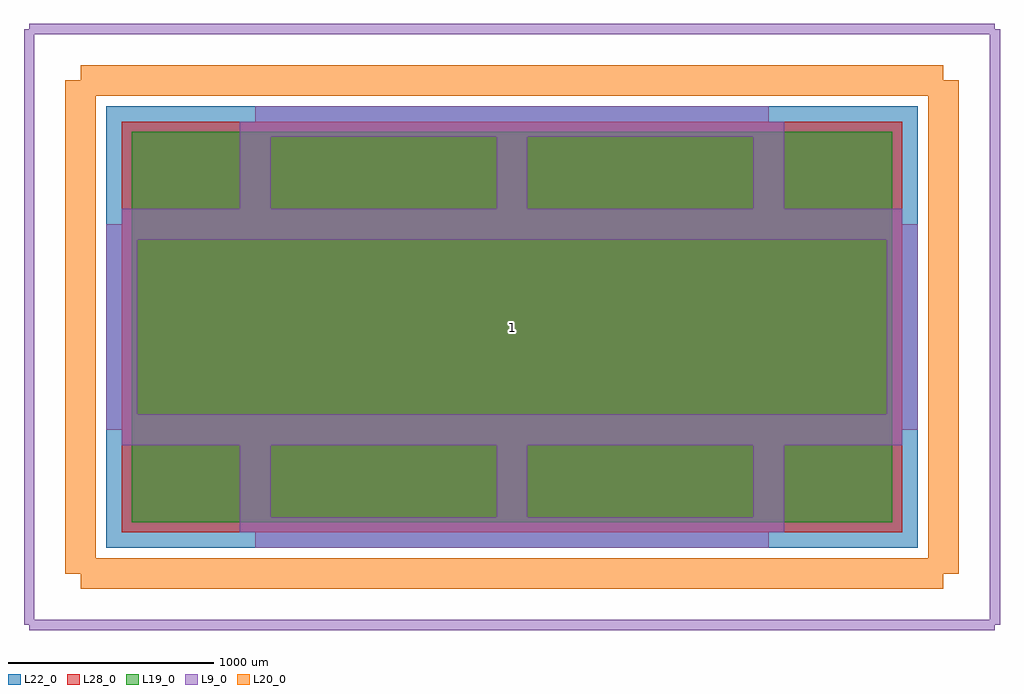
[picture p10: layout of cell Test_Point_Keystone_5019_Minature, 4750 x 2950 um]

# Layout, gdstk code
import gdstk
lib = gdstk.Library(unit=1e-6, precision=1e-09)
def R(c, l, rs):  # rectangles x0, y0, x1, y1
    for r in rs: c.add(gdstk.rectangle(r[:2], r[2:], *l))
L9_0 = (9, 0)
L19_0 = (19, 0)
L20_0 = (20, 0)
L22_0 = (22, 0)
L28_0 = (28, 0)

test_point_keystone_5019 = lib.new_cell('Test_Point_Keystone_5019_Minature')
R(test_point_keystone_5019, L19_0, [(-1850,-950,1850,950)])
R(test_point_keystone_5019, L22_0, [(-1975,-1075,1975,1075)])
R(test_point_keystone_5019, L28_0, [(-1900,-1000,1900,1000)])
test_point_keystone_5019.add(gdstk.FlexPath([(-2100,-1200),(-2100,1200)], 149.998, ends="flush", simple_path=True, layer=20, datatype=0))  # L20_0
test_point_keystone_5019.add(gdstk.FlexPath([(2100,-1200),(-2100,-1200)], 149.998, ends="flush", simple_path=True, layer=20, datatype=0))  # L20_0
test_point_keystone_5019.add(gdstk.FlexPath([(2100,1200),(2100,-1200)], 149.998, ends="flush", simple_path=True, layer=20, datatype=0))  # L20_0
test_point_keystone_5019.add(gdstk.FlexPath([(-2100,1200),(2100,1200)], 149.998, ends="flush", simple_path=True, layer=20, datatype=0))  # L20_0
test_point_keystone_5019.add(gdstk.FlexPath([(-2350,-1450),(-2350,1450)], 50, ends="flush", simple_path=True, layer=9, datatype=0))  # L9_0
test_point_keystone_5019.add(gdstk.FlexPath([(2350,-1450),(-2350,-1450)], 50, ends="flush", simple_path=True, layer=9, datatype=0))  # L9_0
test_point_keystone_5019.add(gdstk.FlexPath([(2350,1450),(2350,-1450)], 50, ends="flush", simple_path=True, layer=9, datatype=0))  # L9_0
test_point_keystone_5019.add(gdstk.FlexPath([(-2350,1450),(2350,1450)], 50, ends="flush", simple_path=True, layer=9, datatype=0))  # L9_0
test_point_keystone_5019.add(gdstk.FlexPath([(1250,500),(1250,1000)], 149.998, ends="flush", simple_path=True, layer=9, datatype=0))  # L9_0
test_point_keystone_5019.add(gdstk.FlexPath([(1750,500),(1250,500)], 149.998, ends="flush", simple_path=True, layer=9, datatype=0))  # L9_0
test_point_keystone_5019.add(gdstk.FlexPath([(1900,-500),(1900,500)], 149.998, ends="flush", simple_path=True, layer=9, datatype=0))  # L9_0
test_point_keystone_5019.add(gdstk.FlexPath([(1250,-500),(1750,-500)], 149.998, ends="flush", simple_path=True, layer=9, datatype=0))  # L9_0
test_point_keystone_5019.add(gdstk.FlexPath([(1250,-1000),(1250,-500)], 149.998, ends="flush", simple_path=True, layer=9, datatype=0))  # L9_0
test_point_keystone_5019.add(gdstk.FlexPath([(-1250,-1000),(1250,-1000)], 149.998, ends="flush", simple_path=True, layer=9, datatype=0))  # L9_0
test_point_keystone_5019.add(gdstk.FlexPath([(-1250,-500),(-1250,-1000)], 149.998, ends="flush", simple_path=True, layer=9, datatype=0))  # L9_0
test_point_keystone_5019.add(gdstk.FlexPath([(-1750,-500),(-1250,-500)], 149.998, ends="flush", simple_path=True, layer=9, datatype=0))  # L9_0
test_point_keystone_5019.add(gdstk.FlexPath([(-1900,500),(-1900,-500)], 149.998, ends="flush", simple_path=True, layer=9, datatype=0))  # L9_0
test_point_keystone_5019.add(gdstk.FlexPath([(-1250,500),(-1750,500)], 149.998, ends="flush", simple_path=True, layer=9, datatype=0))  # L9_0
test_point_keystone_5019.add(gdstk.FlexPath([(-1250,1000),(-1250,500)], 149.998, ends="flush", simple_path=True, layer=9, datatype=0))  # L9_0
test_point_keystone_5019.add(gdstk.FlexPath([(1250,1000),(-1250,1000)], 149.998, ends="flush", simple_path=True, layer=9, datatype=0))  # L9_0
test_point_keystone_5019.add(gdstk.FlexPath([(1900,-500),(-1900,-500)], 149.998, ends="flush", simple_path=True, layer=9, datatype=0))  # L9_0
test_point_keystone_5019.add(gdstk.FlexPath([(-1900,500),(1900,500)], 149.998, ends="flush", simple_path=True, layer=9, datatype=0))  # L9_0
test_point_keystone_5019.add(gdstk.FlexPath([(0,1000),(0,500)], 149.998, ends="flush", simple_path=True, layer=9, datatype=0))  # L9_0
test_point_keystone_5019.add(gdstk.FlexPath([(0,-500),(0,-1000)], 149.998, ends="flush", simple_path=True, layer=9, datatype=0))  # L9_0
test_point_keystone_5019.add(gdstk.Label('1', (0,0), layer=28, texttype=0))
test_point_keystone_5019.add(gdstk.Label('type', (0,-2250), layer=9, texttype=0))
test_point_keystone_5019.add(gdstk.Label('devicename', (0,2250), layer=9, texttype=0))

lib.write_gds('Test_Point_Keystone_5019_Minature.gds')
